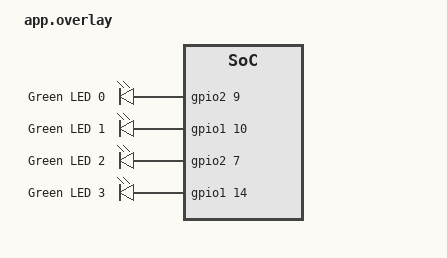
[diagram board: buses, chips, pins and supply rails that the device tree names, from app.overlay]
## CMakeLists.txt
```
cmake_minimum_required(VERSION 3.20.0)
find_package(Zephyr REQUIRED HINTS $ENV{ZEPHYR_BASE})
project(host_device)

target_sources(app PRIVATE
    src/main.c
    src/ble_service.c
)

target_include_directories(app PRIVATE include)
```

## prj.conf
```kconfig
# ========================================
# HOST DEVICE - BLE PERIPHERAL CONFIGURATION
# ========================================
# Simplified configuration for basic MotoApp connection
# ========================================

# ========================================
# C LIBRARY - NEWLIB (MANDATORY)
# ========================================
CONFIG_NEWLIB_LIBC=y
CONFIG_NEWLIB_LIBC_FLOAT_PRINTF=y

# ========================================
# SYSTEM CONFIGURATION
# ========================================
CONFIG_SERIAL=y
CONFIG_UART_CONSOLE=y
CONFIG_UART_LINE_CTRL=y
CONFIG_LOG=y
CONFIG_LOG_DEFAULT_LEVEL=3
CONFIG_LOG_MODE_MINIMAL=y
CONFIG_KERNEL_COHERENCE=n

# ========================================
# GPIO CONFIGURATION
# ========================================
CONFIG_GPIO=y

# ========================================
# TIMING CONFIGURATION
# ========================================
CONFIG_SYS_CLOCK_TICKS_PER_SEC=32768

# ========================================
# BLE STACK CONFIGURATION (PERIPHERAL + CENTRAL FOR SCANNING)
# ========================================
CONFIG_BT=y
CONFIG_BT_PERIPHERAL=y
CONFIG_BT_CENTRAL=y
CONFIG_BT_MAX_CONN=2
CONFIG_BT_MAX_PAIRED=1
CONFIG_BT_SCAN=y
CONFIG_BT_SCAN_FILTER_ENABLE=y

# ========================================
# BLE ADVERTISING CONFIGURATION
# ========================================
# Using standard intervals (100ms) instead of ultra-fast (3.75ms)
# Ultra-fast intervals can cause connection establishment issues
CONFIG_BT_PERIPHERAL_PREF_MIN_INT=160
CONFIG_BT_PERIPHERAL_PREF_MAX_INT=160
CONFIG_BT_PERIPHERAL_PREF_LATENCY=0
CONFIG_BT_PERIPHERAL_PREF_TIMEOUT=400

# ========================================
# BLE CONNECTION CONFIGURATION
# ========================================
CONFIG_BT_L2CAP_TX_MTU=247
CONFIG_BT_BUF_ACL_RX_SIZE=251
CONFIG_BT_BUF_ACL_TX_SIZE=251
CONFIG_BT_CTLR_DATA_LENGTH_MAX=251

# ========================================
# DEVICE NAME
# ========================================
CONFIG_BT_DEVICE_NAME="MIPE_HOST_A1B2"
CONFIG_BT_DEVICE_APPEARANCE=0
```

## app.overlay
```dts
/ {
	aliases {
		led0 = &led0;
		led1 = &led1;
		led2 = &led2;
		led3 = &led3;
	};

	leds {
		compatible = "gpio-leds";
		led0: led_0 {
			gpios = <&gpio2 9 GPIO_ACTIVE_HIGH>;
			label = "Green LED 0";
		};
		led1: led_1 {
			gpios = <&gpio1 10 GPIO_ACTIVE_HIGH>;
			label = "Green LED 1";
		};
		led2: led_2 {
			gpios = <&gpio2 7 GPIO_ACTIVE_HIGH>;
			label = "Green LED 2";
		};
		led3: led_3 {
			gpios = <&gpio1 14 GPIO_ACTIVE_HIGH>;
			label = "Green LED 3";
		};
	};
};
```

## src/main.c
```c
/*
 * Copyright (c) 2024 Nordic Semiconductor ASA
 * SPDX-License-Identifier: Apache-2.0
 */

/**
 * Host Device Application - Minimal Version
 * - RSSI measurement from Mipe beacons
 * - BLE communication with MotoApp
 * - Clean, focused implementation without LED indicators
 */

#include <zephyr/kernel.h>
#include <zephyr/bluetooth/bluetooth.h>
#include <zephyr/logging/log.h>
#include <string.h>

#include "ble/ble_peripheral.h"
#include "ble/ble_central.h"

LOG_MODULE_REGISTER(host_main, LOG_LEVEL_WRN);

/* BLE logging buffer */
static char ble_log_buffer[128];

/* Connection states */
static bool motoapp_connected = false;
static bool mipe_connected = false;
static bool streaming_active = false;

/* Latest RSSI from Mipe */
static int8_t latest_mipe_rssi = -70;
static uint32_t latest_mipe_timestamp = 0;
static uint16_t latest_mipe_battery_mv = 0;

/* Mipe status data */
static mipe_status_t mipe_status = {0};
static uint16_t mipe_connection_attempts = 0;

/* Host battery monitoring - placeholder constant value */
uint16_t get_host_battery_mv(void)
{
    /* TODO: Implement actual ADC reading for host battery */
    /* For now, return a constant test value as requested */
    static uint32_t last_log = 0;
    uint32_t now = k_uptime_get_32();
    
    /* Log periodically for debugging */
    if (now - last_log > 10000) {  /* Every 10 seconds */
        LOG_INF("Host battery reading: 7654 mV (constant test value)");
        last_log = now;
    }
    
    return 7654;  /* 7.654V constant as requested */
}

/* Helper function to send logs via BLE */
static void log_ble(const char *format, ...)
{
    va_list args;
    int err;
    
    va_start(args, format);
    vsnprintf(ble_log_buffer, sizeof(ble_log_buffer), format, args);
    va_end(args);

    LOG_INF("%s", ble_log_buffer);
    
    /* Only try to send via BLE if we're connected and ready */
    if (motoapp_connected) {
        err = ble_peripheral_send_log_data(ble_log_buffer);
        if (err == -EAGAIN) {
            /* Buffer full, just log locally */
            LOG_DBG("BLE log buffer full, skipping");
        }
    }
}

static void update_mipe_status(void)
{
    /* Only update dynamic fields, preserve battery voltage and other static data */
    mipe_status_t temp_status = mipe_status;
    
    /* Update only the dynamic fields */
    temp_status.status_flags = (ble_central_is_scanning() ? 1 : 0) | (mipe_connected ? 2 : 0);
    temp_status.rssi = mipe_connected ? latest_mipe_rssi : 0;
    temp_status.last_scan_timestamp = k_uptime_get_32();
    temp_status.connection_attempts = mipe_connection_attempts;

    LOG_DBG("Updating mipe status - battery: %.2fV", (double)temp_status.battery_voltage);
    ble_peripheral_update_mipe_status(&temp_status);
}

/* Mipe sync operation */
static void handle_mipe_sync(void)
{
    log_ble("=== MIPE SYNC STARTED ===");
    
    /* TODO: Implement actual Mipe connection logic here */
    /* For now, simulate a successful sync with mock data */
    k_sleep(K_MSEC(2000));  /* 2000ms timeout */
    
    /* Use constant battery value for testing Host-to-App communication */
    mipe_status.battery_voltage = 3.30f;  /* Constant test value */
    mipe_status.connection_duration = 2;  /* 2 second connection */
    strncpy(mipe_status.connection_state, "Connected", sizeof(mipe_status.connection_state) - 1);
    mipe_status.connection_state[sizeof(mipe_status.connection_state) - 1] = '\0';
    strncpy(mipe_status.device_address, "AA:BB:CC:DD:EE:FF", sizeof(mipe_status.device_address) - 1);
    mipe_status.device_address[sizeof(mipe_status.device_address) - 1] = '\0';
    
    log_ble("MIPE SYNC COMPLETE");
    log_ble("Battery: 3.30v (constant test), Duration: 2s");
    
    /* Update status to reflect sync completion */
    mipe_status_t sync_status = mipe_status;
    ble_peripheral_update_mipe_status(&sync_status);
}

/* BLE Peripheral callbacks */
static void app_connected(void)
{
    motoapp_connected = true;
    
    /* Wait for connection to stabilize before sending logs */
    k_sleep(K_MSEC(500));
    log_ble("MotoApp connected");
}

static void app_disconnected(void)
{
    log_ble("MotoApp disconnected");
    motoapp_connected = false;
    streaming_active = false;
}

static void streaming_state_changed(bool active)
{
    log_ble("Streaming %s", active ? "started" : "stopped");
    streaming_active = active;
}

/* BLE Central callback */
static void mipe_rssi_received(int8_t rssi, uint32_t timestamp)
{
    /* Update latest values */
    latest_mipe_rssi = rssi;
    latest_mipe_timestamp = timestamp;
    
    /* Track connection state changes */
    if (!mipe_connected) {
        mipe_connected = true;
        /* Store the battery value on first detection */
        latest_mipe_battery_mv = ble_central_get_mipe_battery_mv();
        LOG_INF("=== Mipe Connection State Change ===");
        LOG_INF("Connection to Mipe: CONNECTED");
        LOG_INF("Initial RSSI: %d dBm", rssi);
        LOG_INF("Mipe battery: %u mV", latest_mipe_battery_mv);
        /* Don't send log_ble here - it causes buffer conflicts */
        /* Don't update status immediately - it causes buffer conflicts during scan */
        /* Status will be updated on next RSSI packet or via MIPE_SYNC command */
        
        /* Skip sending the first RSSI packet to avoid buffer conflicts */
        return;
    }
    
    /* Send RSSI to app in real-time if streaming is active */
    if (streaming_active && motoapp_connected) {
        /* Get battery values for logging */
        uint16_t host_batt = get_host_battery_mv();
        /* Use the stored battery value instead of calling the function each time */
        uint16_t mipe_batt = latest_mipe_battery_mv;
        
        int err = ble_peripheral_send_rssi_data(rssi, 0);
        if (err == 0) {
            /* Successfully sent - log periodically to avoid spam */
            static uint32_t last_success_log = 0;
            static uint32_t send_count = 0;
            send_count++;
            if (timestamp - last_success_log > 5000) {
                LOG_INF("Real-time bundle sent #%u: RSSI=%d dBm, Host=%u mV, Mipe=%u mV", 
                        send_count, rssi, host_batt, mipe_batt);
                last_success_log = timestamp;
            }
        } else if (err != -EAGAIN) {
            /* Log errors except buffer full */
            static uint32_t last_error_log = 0;
            if (timestamp - last_error_log > 1000) {
                LOG_WRN("Failed to send RSSI bundle: %d", err);
                last_error_log = timestamp;
            }
        }
    }
    
    /* Log RSSI periodically (every 5 seconds) */
    static uint32_t last_rssi_log = 0;
    if (timestamp - last_rssi_log > 5000) {
        LOG_INF("Mipe RSSI: %d dBm (stable)", rssi);
        last_rssi_log = timestamp;
    }
}

/* Data transmission callback - NOT USED in real-time mode */
static int get_rssi_data(int8_t *rssi, uint32_t *timestamp)
{
    /* This callback is no longer used in real-time mode */
    /* RSSI is sent directly from mipe_rssi_received() */
    return -ENODATA;
}

int main(void)
{
    int err;

    LOG_INF("=== Host Device Starting (Minimal) ===");
    LOG_INF("Initial mipe_connected state: %s", mipe_connected ? "true" : "false");
    LOG_INF("Host battery monitoring: Using constant 7654 mV for testing");

    /* Initialize Bluetooth */
    err = bt_enable(NULL);
    if (err) {
        LOG_ERR("Bluetooth init failed (err %d)", err);
        return err;
    }
    LOG_INF("Bluetooth initialized");

    /* Initialize BLE Peripheral (for MotoApp connection) */
    err = ble_peripheral_init(app_connected, app_disconnected, 
                             streaming_state_changed, get_rssi_data,
                             handle_mipe_sync);
    if (err) {
        LOG_ERR("Failed to initialize BLE peripheral: %d", err);
        return err;
    }

    /* Initialize BLE Central (for Mipe beacon scanning) */
    err = ble_central_init(mipe_rssi_received);
    if (err) {
        LOG_ERR("Failed to initialize BLE central: %d", err);
        return err;
    }

    /* Start advertising */
    err = ble_peripheral_start_advertising();
    if (err) {
        LOG_ERR("Failed to start advertising: %d", err);
        return err;
    }

    /* Don't start scanning automatically - wait for app to request streaming */
    LOG_INF("=== Host Device Ready ===");
    LOG_INF("Advertising as: MIPE_HOST_A1B2");
    LOG_INF("Waiting for app to start streaming before scanning for Mipe");

    /* Main loop */
    while (1) {
        k_sleep(K_SECONDS(5));
        
        /* Check Mipe connection state */
        bool mipe_currently_detected = ble_central_is_mipe_detected();
        
        /* Handle disconnection */
        if (mipe_connected && !mipe_currently_detected) {
            mipe_connected = false;
            LOG_WRN("=== Mipe Connection State Change ===");
            LOG_INF("Connection to Mipe: DISCONNECTED");
            LOG_INF("Last known RSSI: %d dBm", latest_mipe_rssi);
            log_ble("Mipe beacon lost - timeout");
            latest_mipe_rssi = -70;  /* Reset to default */
        }
        
        /* Log periodic status if Mipe is connected */
        if (mipe_connected) {
            uint32_t packet_count = ble_central_get_mipe_packet_count();
            uint32_t uptime_sec = k_uptime_get_32() / 1000;
            LOG_INF("Mipe Status: Connected for %u sec, %u packets received, RSSI: %d dBm", 
                    uptime_sec, packet_count, latest_mipe_rssi);
        }
        
        /* NOTE: Mipe status is ONLY sent when explicitly requested via MIPE_SYNC command */
        /* No automatic status updates here */
    }

    return 0;
}
```

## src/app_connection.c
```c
#include "app_connection.h"
#include "ble_service.h"
#include <zephyr/logging/log.h>
#include <zephyr/kernel.h>
#include <zephyr/bluetooth/bluetooth.h>
#include <zephyr/bluetooth/conn.h>
#include <zephyr/bluetooth/gatt.h>
#include <string.h>

LOG_MODULE_REGISTER(app_connection, LOG_LEVEL_INF);

// ========================================
// GLOBAL VARIABLES
// ========================================

static struct bt_conn *app_conn = NULL;
static bool advertising_active = false;
static bool app_connected = false;

// ========================================
// ADVERTISING DATA
// ========================================

static const struct bt_data ad[] = {
    BT_DATA_BYTES(BT_DATA_FLAGS, (BT_LE_AD_GENERAL | BT_LE_AD_NO_BREDR)),
    BT_DATA(BT_DATA_NAME_COMPLETE, APP_DEVICE_NAME, strlen(APP_DEVICE_NAME)),
};

static const struct bt_data sd[] = {
    BT_DATA_BYTES(BT_DATA_UUID128_ALL, BT_UUID_TMT1_SERVICE_VAL),
};

// ========================================
// ADVERTISING PARAMETERS
// ========================================

static struct bt_le_adv_param adv_param = BT_LE_ADV_PARAM_INIT(
    BT_LE_ADV_OPT_CONN,                    // Connectable advertising
    BT_GAP_ADV_FAST_INT_MIN_2,             // 100ms min interval
    BT_GAP_ADV_FAST_INT_MAX_2,             // 150ms max interval
    NULL                                    // No peer address
);

// ========================================
// CONNECTION CALLBACKS
// ========================================

static void app_connected_cb(struct bt_conn *conn, uint8_t err)
{
    char addr[BT_ADDR_LE_STR_LEN];
    bt_addr_le_to_str(bt_conn_get_dst(conn), addr, sizeof(addr));
    
    if (err) {
        LOG_ERR("App connection failed (err %u)", err);
        app_connected = false;
        return;
    }
    
    LOG_INF("App connected: %s", addr);
    app_conn = bt_conn_ref(conn);
    app_connected = true;
    advertising_active = false;
    
    // Set connection in BLE service
    ble_service_set_app_conn(conn);
    
    // Send log data to App
    ble_service_send_log_data("Host device ready - App connected");
    
    // Request connection parameter update for stability
    struct bt_le_conn_param param = {
        .interval_min = BT_GAP_INIT_CONN_INT_MIN,  /* 30ms */
        .interval_max = BT_GAP_INIT_CONN_INT_MAX,  /* 50ms */
        .latency = 0,
        .timeout = 400,  /* 4 seconds */
    };
    
    err = bt_conn_le_param_update(conn, &param);
    if (err) {
        LOG_WRN("Failed to request connection parameter update: %d", err);
    } else {
        LOG_INF("Connection parameter update requested");
    }
}

static void app_disconnected_cb(struct bt_conn *conn, uint8_t reason)
{
    char addr[BT_ADDR_LE_STR_LEN];
    bt_addr_le_to_str(bt_conn_get_dst(conn), addr, sizeof(addr));
    
    LOG_INF("App disconnected: %s (reason %u)", addr, reason);
    
    if (app_conn == conn) {
        bt_conn_unref(app_conn);
        app_conn = NULL;
        app_connected = false;
        
        // Clear connection in BLE service
        ble_service_set_app_conn(NULL);
        
        // Automatically restart advertising
        LOG_INF("Restarting advertising for App discovery");
        int err = app_connection_start_advertising();
        if (err) {
            LOG_ERR("Failed to restart advertising: %d", err);
        }
    }
}

static struct bt_conn_cb app_conn_callbacks = {
    .connected = app_connected_cb,
    .disconnected = app_disconnected_cb,
};

// ========================================
// PUBLIC FUNCTIONS
// ========================================

int app_connection_init(void)
{
    LOG_INF("Initializing App connection");
    
    // Register connection callbacks
    bt_conn_cb_register(&app_conn_callbacks);
    
    LOG_INF("App connection initialized successfully");
    return 0;
}

int app_connection_start_advertising(void)
{
    if (advertising_active) {
        LOG_WRN("Advertising already active");
        return 0;
    }
    
    if (app_connected) {
        LOG_WRN("App already connected, no need to advertise");
        return 0;
    }
    
    LOG_INF("Starting advertising to App");
    
    // Start advertising
    int err = bt_le_adv_start(&adv_param, ad, ARRAY_SIZE(ad), sd, ARRAY_SIZE(sd));
    if (err) {
        LOG_ERR("Failed to start advertising: %d", err);
        return err;
    }
    
    advertising_active = true;
    LOG_INF("Advertising started - Device name: %s", APP_DEVICE_NAME);
    return 0;
}

int app_connection_stop_advertising(void)
{
    if (!advertising_active) {
        LOG_WRN("Advertising not active");
        return 0;
    }
    
    LOG_INF("Stopping advertising to App");
    
    int err = bt_le_adv_stop();
    if (err) {
        LOG_ERR("Failed to stop advertising: %d", err);
        return err;
    }
    
    advertising_active = false;
    LOG_INF("Advertising stopped");
    return 0;
}

bool app_connection_is_connected(void)
{
    return app_connected;
}

struct bt_conn *app_connection_get_conn(void)
{
    return app_conn;
}

int app_connection_disconnect(void)
{
    if (!app_connected || !app_conn) {
        LOG_WRN("Not connected to App");
        return -ENOTCONN;
    }
    
    LOG_INF("Disconnecting from App");
    
    int err = bt_conn_disconnect(app_conn, BT_HCI_ERR_REMOTE_USER_TERM_CONN);
    if (err) {
        LOG_ERR("Failed to disconnect: %d", err);
        return err;
    }
    
    return 0;
}

bool app_connection_is_advertising(void)
{
    return advertising_active;
}
```

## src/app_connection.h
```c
#ifndef APP_CONNECTION_H
#define APP_CONNECTION_H

#include <zephyr/bluetooth/bluetooth.h>
#include <zephyr/bluetooth/conn.h>
#include <zephyr/bluetooth/gatt.h>
#include <errno.h>
#include <stdbool.h>

// ========================================
// APP CONNECTION CONFIGURATION
// ========================================

// Device name matching App expectations
#define APP_DEVICE_NAME      "MIPE_HOST_A1B2"

// ========================================
// FUNCTION PROTOTYPES
// ========================================

/**
 * Initialize App connection (BLE peripheral)
 * @return 0 on success, negative error code on failure
 */
int app_connection_init(void);

/**
 * Start advertising to App
 * @return 0 on success, negative error code on failure
 */
int app_connection_start_advertising(void);

/**
 * Stop advertising to App
 * @return 0 on success, negative error code on failure
 */
int app_connection_stop_advertising(void);

/**
 * Check if App is connected
 * @return true if connected, false otherwise
 */
bool app_connection_is_connected(void);

/**
 * Get App connection object
 * @return Pointer to connection object, or NULL if not connected
 */
struct bt_conn *app_connection_get_conn(void);

/**
 * Disconnect from App
 * @return 0 on success, negative error code on failure
 */
int app_connection_disconnect(void);

/**
 * Check if advertising is active
 * @return true if advertising, false otherwise
 */
bool app_connection_is_advertising(void);

#endif // APP_CONNECTION_H
```

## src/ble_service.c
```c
#include "ble_service.h"
#include <zephyr/logging/log.h>
#include <zephyr/kernel.h>
#include <string.h>

LOG_MODULE_REGISTER(ble_service, LOG_LEVEL_INF);

// ========================================
// EXTERNAL FUNCTION DECLARATIONS
// ========================================

// These functions are defined in main.c
extern void handle_start_stream(void);
extern void handle_stop_stream(void);
extern void handle_get_status(void);
extern void handle_mipe_sync(void);

// ========================================
// GLOBAL VARIABLES
// ========================================

static struct bt_conn *app_conn = NULL;
static bool app_connected = false;

// ========================================
// CONTROL COMMAND HANDLER
// ========================================

static ssize_t control_write(struct bt_conn *conn,
                            const struct bt_gatt_attr *attr,
                            const void *buf,
                            uint16_t len,
                            uint16_t offset,
                            uint8_t flags)
{
    char addr[BT_ADDR_LE_STR_LEN];
    bt_addr_le_to_str(bt_conn_get_dst(conn), addr, sizeof(addr));
    
    LOG_INF("=== CONTROL WRITE RECEIVED ===");
    LOG_INF("From: %s", addr);
    LOG_INF("Length: %d bytes", len);
    LOG_INF("Offset: %d", offset);
    LOG_INF("Flags: 0x%02x", flags);
    
    if (len > 0) {
        uint8_t cmd = ((uint8_t *)buf)[0];
        LOG_INF("Command byte: 0x%02x", cmd);
        
        // Log full command data
        LOG_INF("Full command data:");
        for (int i = 0; i < len && i < 16; i++) {
            LOG_INF("  [%d]: 0x%02x", i, ((uint8_t *)buf)[i]);
        }
        
        // Handle control command
        ble_service_handle_control_command(buf, len);
        LOG_INF("Command handled successfully");
    } else {
        LOG_WRN("Empty command received");
    }
    
    LOG_INF("=============================");
    return len;
}

// ========================================
// CONTROL READ HANDLER
// ========================================

static ssize_t control_read(struct bt_conn *conn,
                           const struct bt_gatt_attr *attr,
                           void *buf,
                           uint16_t len,
                           uint16_t offset)
{
    LOG_INF("=== CONTROL READ REQUESTED ===");
    
    // Return a simple test value
    uint8_t test_data[] = {0xAA, 0xBB, 0xCC, 0xDD};
    
    if (len > sizeof(test_data)) {
        len = sizeof(test_data);
    }
    
    memcpy(buf, test_data, len);
    LOG_INF("Control read completed - returned %d bytes", len);
    LOG_INF("=============================");
    return len;
}

// ========================================
// STATUS READ HANDLER
// ========================================

static ssize_t status_read(struct bt_conn *conn,
                           const struct bt_gatt_attr *attr,
                           void *buf,
                           uint16_t len,
                           uint16_t offset)
{
    LOG_INF("Status read requested");
    
    // Return basic status for now
    uint8_t status[] = {0x01, 0x00, 0x00, 0x00}; // Status: Ready
    
    if (len > sizeof(status)) {
        len = sizeof(status);
    }
    
    memcpy(buf, status, len);
    return len;
}

// ========================================
// TMT1 SERVICE DEFINITION
// ========================================

// CCC write callback for RSSI data notifications
static void rssi_ccc_changed(const struct bt_gatt_attr *attr, uint16_t value)
{
    LOG_INF("=== RSSI CCC CHANGED ===");
    LOG_INF("Value: 0x%04x", value);
    LOG_INF("Notifications: %s", (value == BT_GATT_CCC_NOTIFY) ? "ENABLED" : "DISABLED");
    LOG_INF("========================");
}



BT_GATT_SERVICE_DEFINE(tmt1_service,
    BT_GATT_PRIMARY_SERVICE(&tmt1_service_uuid),
    
    BT_GATT_CHARACTERISTIC(&rssi_data_uuid.uuid,
                           BT_GATT_CHRC_NOTIFY,
                           BT_GATT_PERM_NONE,
                           NULL, NULL, NULL),
    BT_GATT_CCC(rssi_ccc_changed, BT_GATT_PERM_READ | BT_GATT_PERM_WRITE),
    
    BT_GATT_CHARACTERISTIC(&control_uuid.uuid,
                           BT_GATT_CHRC_READ | BT_GATT_CHRC_WRITE,
                           BT_GATT_PERM_READ | BT_GATT_PERM_WRITE,
                           control_read, control_write, NULL),
    
    BT_GATT_CHARACTERISTIC(&status_uuid.uuid,
                           BT_GATT_CHRC_READ,
                           BT_GATT_PERM_READ,
                           status_read, NULL, NULL),
    
    BT_GATT_CHARACTERISTIC(&mipe_status_uuid.uuid,
                           BT_GATT_CHRC_NOTIFY,
                           BT_GATT_PERM_NONE,
                           NULL, NULL, NULL),
    BT_GATT_CCC(NULL, BT_GATT_PERM_READ | BT_GATT_PERM_WRITE),
    
    BT_GATT_CHARACTERISTIC(&log_data_uuid.uuid,
                           BT_GATT_CHRC_NOTIFY,
                           BT_GATT_PERM_NONE,
                           NULL, NULL, NULL),
    BT_GATT_CCC(NULL, BT_GATT_PERM_READ | BT_GATT_PERM_WRITE)
);

// ========================================
// PUBLIC FUNCTIONS
// ========================================

int ble_service_init(void)
{
    LOG_INF("Initializing BLE service");
    
    // TMT1 service is automatically registered by BT_GATT_SERVICE_DEFINE
    LOG_INF("BLE service initialized successfully");
    return 0;
}

bool ble_service_is_app_connected(void)
{
    return app_connected;
}

int ble_service_send_rssi_data(int8_t rssi, uint32_t timestamp)
{
    if (!app_connected || !app_conn) {
        LOG_ERR("Cannot send RSSI data: not connected");
        return -ENOTCONN;
    }
    
    // Prepare RSSI data packet (1 byte RSSI + 3 bytes timestamp)
    uint8_t data[4];
    data[0] = (uint8_t)rssi;
    data[1] = (uint8_t)(timestamp & 0xFF);
    data[2] = (uint8_t)((timestamp >> 8) & 0xFF);
    data[3] = (uint8_t)((timestamp >> 16) & 0xFF);
    
    LOG_INF("=== SENDING RSSI DATA ===");
    LOG_INF("RSSI: %d dBm", rssi);
    LOG_INF("Timestamp: %u ms", timestamp);
    LOG_INF("Data bytes: [0x%02x, 0x%02x, 0x%02x, 0x%02x]", 
            data[0], data[1], data[2], data[3]);
    
    // Send notification using the service attribute
    int err = bt_gatt_notify(app_conn, &tmt1_service.attrs[1], data, sizeof(data));
    if (err) {
        LOG_ERR("Failed to send RSSI data: %d", err);
        LOG_ERR("Error details: %s", 
                err == -ENOTCONN ? "Not connected" :
                err == -EINVAL ? "Invalid parameters" :
                err == -ENOMEM ? "No memory" :
                err == -EIO ? "I/O error" : "Unknown error");
        return err;
    }
    
    LOG_INF("RSSI data sent successfully");
    LOG_INF("========================");
    return 0;
}

int ble_service_send_mipe_status(uint8_t connection_state, int8_t rssi,
                                const uint8_t *device_address, uint32_t connection_duration,
                                float battery_voltage)
{
    if (!app_connected || !app_conn) {
        return -ENOTCONN;
    }
    
    // Prepare Mipe status packet (16 bytes total)
    uint8_t data[16];
    data[0] = connection_state;
    data[1] = (uint8_t)rssi;
    
    // Copy device address (6 bytes)
    if (device_address) {
        memcpy(&data[2], device_address, 6);
    } else {
        memset(&data[2], 0, 6);
    }
    
    // Connection duration (4 bytes, little-endian)
    data[8] = (uint8_t)(connection_duration & 0xFF);
    data[9] = (uint8_t)((connection_duration >> 8) & 0xFF);
    data[10] = (uint8_t)((connection_duration >> 16) & 0xFF);
    data[11] = (uint8_t)((connection_duration >> 24) & 0xFF);
    
    // Battery voltage (4 bytes, float, little-endian)
    memcpy(&data[12], &battery_voltage, 4);
    
    // Send notification using the service attribute
    int err = bt_gatt_notify(app_conn, &tmt1_service.attrs[7], data, sizeof(data));
    if (err) {
        LOG_ERR("Failed to send Mipe status: %d", err);
        return err;
    }
    
    LOG_DBG("Mipe status sent: state=%d, rssi=%d, duration=%u, battery=%.2f",
             connection_state, rssi, connection_duration, (double)battery_voltage);
    return 0;
}

int ble_service_send_log_data(const char *log_string)
{
    if (!app_connected || !app_conn) {
        return -ENOTCONN;
    }
    
    if (!log_string) {
        return -EINVAL;
    }
    
    // Send notification using the service attribute
    int err = bt_gatt_notify(app_conn, &tmt1_service.attrs[9], log_string, strlen(log_string));
    if (err) {
        LOG_ERR("Failed to send log data: %d", err);
        return err;
    }
    
    LOG_DBG("Log data sent: %s", log_string);
    return 0;
}

int ble_service_handle_control_command(const uint8_t *data, uint16_t len)
{
    if (!data || len == 0) {
        return -EINVAL;
    }
    
    uint8_t cmd = data[0];
    
    switch (cmd) {
        case CMD_START_STREAM:
            LOG_INF("Executing START STREAM command");
            handle_start_stream();
            break;
            
        case CMD_STOP_STREAM:
            LOG_INF("Executing STOP STREAM command");
            handle_stop_stream();
            break;
            
        case CMD_GET_STATUS:
            LOG_INF("Executing GET STATUS command");
            handle_get_status();
            break;
            
        case CMD_MIPE_SYNC:
            LOG_INF("Executing MIPE SYNC command");
            handle_mipe_sync();
            break;
            
        default:
            LOG_WRN("Unknown command: 0x%02x", cmd);
            break;
    }
    
    return 0;
}

// ========================================
// CONNECTION MANAGEMENT
// ========================================

void ble_service_set_app_conn(struct bt_conn *conn)
{
    app_conn = conn;
    app_connected = (conn != NULL);
    
    if (app_connected) {
        LOG_INF("App connected");
    } else {
        LOG_INF("App disconnected");
    }
}
```

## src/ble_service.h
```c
#ifndef BLE_SERVICE_H
#define BLE_SERVICE_H

#include <zephyr/bluetooth/bluetooth.h>
#include <zephyr/bluetooth/conn.h>
#include <zephyr/bluetooth/gatt.h>
#include <zephyr/bluetooth/uuid.h>
#include <errno.h>
#include <stdint.h>
#include <stdbool.h>

// ========================================
// TMT1 SERVICE DEFINITIONS
// ========================================
// Matching the MotoApp expectations exactly

// TMT1 Service UUID
#define BT_UUID_TMT1_SERVICE_VAL \
    BT_UUID_128_ENCODE(0x12345678, 0x1234, 0x5678, 0x1234, 0x56789abcdef0)

// TMT1 Service Characteristics
#define BT_UUID_RSSI_DATA_VAL \
    BT_UUID_128_ENCODE(0x12345678, 0x1234, 0x5678, 0x1234, 0x56789abcdef1)

#define BT_UUID_CONTROL_VAL \
    BT_UUID_128_ENCODE(0x12345678, 0x1234, 0x5678, 0x1234, 0x56789abcdef2)

#define BT_UUID_STATUS_VAL \
    BT_UUID_128_ENCODE(0x12345678, 0x1234, 0x5678, 0x1234, 0x56789abcdef3)

#define BT_UUID_MIPE_STATUS_VAL \
    BT_UUID_128_ENCODE(0x12345678, 0x1234, 0x5678, 0x1234, 0x56789abcdef4)

#define BT_UUID_LOG_DATA_VAL \
    BT_UUID_128_ENCODE(0x12345678, 0x1234, 0x5678, 0x1234, 0x56789abcdef5)

// UUID structs for GATT service definition
static const struct bt_uuid_128 tmt1_service_uuid = BT_UUID_INIT_128(BT_UUID_TMT1_SERVICE_VAL);
static const struct bt_uuid_128 rssi_data_uuid = BT_UUID_INIT_128(BT_UUID_RSSI_DATA_VAL);
static const struct bt_uuid_128 control_uuid = BT_UUID_INIT_128(BT_UUID_CONTROL_VAL);
static const struct bt_uuid_128 status_uuid = BT_UUID_INIT_128(BT_UUID_STATUS_VAL);
static const struct bt_uuid_128 mipe_status_uuid = BT_UUID_INIT_128(BT_UUID_MIPE_STATUS_VAL);
static const struct bt_uuid_128 log_data_uuid = BT_UUID_INIT_128(BT_UUID_LOG_DATA_VAL);

// Control Commands (matching App expectations)
#define CMD_START_STREAM    0x01
#define CMD_STOP_STREAM     0x02
#define CMD_GET_STATUS      0x03
#define CMD_MIPE_SYNC       0x04

// ========================================
// FUNCTION PROTOTYPES
// ========================================

/**
 * Initialize BLE service
 * @return 0 on success, negative error code on failure
 */
int ble_service_init(void);

/**
 * Check if App is connected
 * @return true if connected, false otherwise
 */
bool ble_service_is_app_connected(void);

/**
 * Send RSSI data to App
 * @param rssi RSSI value (-30 to -80 dBm)
 * @param timestamp Timestamp in milliseconds
 * @return 0 on success, negative error code on failure
 */
int ble_service_send_rssi_data(int8_t rssi, uint32_t timestamp);

/**
 * Send Mipe status to App
 * @param connection_state Connection state (0=Idle, 1=Scanning, 2=Connected, 3=Connected, 4=Disconnected)
 * @param rssi RSSI value during connection
 * @param device_address Mipe device address
 * @param connection_duration Connection duration in milliseconds
 * @param battery_voltage Battery voltage (fake 3.8V for now)
 * @return 0 on success, negative error code on failure
 */
int ble_service_send_mipe_status(uint8_t connection_state, int8_t rssi, 
                                const uint8_t *device_address, uint32_t connection_duration,
                                float battery_voltage);

/**
 * Send log data to App
 * @param log_string Log message string
 * @return 0 on success, negative error code on failure
 */
int ble_service_send_log_data(const char *log_string);

/**
 * Handle control command from App
 * @param data Control command data
 * @param len Length of data
 * @return 0 on success, negative error code on failure
 */
int ble_service_handle_control_command(const uint8_t *data, uint16_t len);

/**
 * Set App connection object
 * @param conn Connection object or NULL if disconnected
 */
void ble_service_set_app_conn(struct bt_conn *conn);

#endif // BLE_SERVICE_H
```

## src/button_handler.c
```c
/*
 * Copyright (c) 2024 Nordic Semiconductor ASA
 * SPDX-License-Identifier: Apache-2.0
 */

#include <zephyr/kernel.h>
#include <zephyr/device.h>
#include <zephyr/drivers/gpio.h>
#include <zephyr/logging/log.h>

#include "button_handler.h"

LOG_MODULE_REGISTER(button_handler, LOG_LEVEL_INF);

/* Button configuration */
#define SW0_NODE DT_ALIAS(sw0)
static const struct gpio_dt_spec button = GPIO_DT_SPEC_GET(SW0_NODE, gpios);
static struct gpio_callback button_cb_data;

/* Button callback */
static button_callback_t user_callback = NULL;

static void button_pressed(const struct device *dev, struct gpio_callback *cb,
                          uint32_t pins)
{
    LOG_INF("Button pressed");
    
    if (user_callback) {
        user_callback();
    }
}

int button_handler_init(button_callback_t callback)
{
    int ret;

    if (!gpio_is_ready_dt(&button)) {
        LOG_ERR("Button device not ready");
        return -ENODEV;
    }

    ret = gpio_pin_configure_dt(&button, GPIO_INPUT);
    if (ret != 0) {
        LOG_ERR("Failed to configure button GPIO: %d", ret);
        return ret;
    }

    ret = gpio_pin_interrupt_configure_dt(&button,
                                         GPIO_INT_EDGE_TO_ACTIVE);
    if (ret != 0) {
        LOG_ERR("Failed to configure button interrupt: %d", ret);
        return ret;
    }

    gpio_init_callback(&button_cb_data, button_pressed, BIT(button.pin));
    gpio_add_callback(button.port, &button_cb_data);

    user_callback = callback;

    LOG_INF("Button handler initialized");
    return 0;
}
```

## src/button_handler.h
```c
/*
 * Copyright (c) 2024 Nordic Semiconductor ASA
 * SPDX-License-Identifier: Apache-2.0
 */

#ifndef BUTTON_HANDLER_H
#define BUTTON_HANDLER_H

#include <stdint.h>

/* Button callback function type */
typedef void (*button_callback_t)(void);

/**
 * @brief Initialize button handler
 * 
 * @param callback Function to call when button is pressed
 * @return 0 on success, negative error code on failure
 */
int button_handler_init(button_callback_t callback);

#endif /* BUTTON_HANDLER_H */
```

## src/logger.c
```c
/*
 * Copyright (c) 2024 Nordic Semiconductor ASA
 * SPDX-License-Identifier: Apache-2.0
 */

#include <zephyr/kernel.h>
#include <zephyr/logging/log.h>

#include "logger.h"

LOG_MODULE_REGISTER(logger_system, LOG_LEVEL_INF);

static enum logger_level current_level = LOGGER_LEVEL_INFO;

void logger_init(enum logger_level level)
{
    current_level = level;
    LOG_INF("Logger initialized with level %d", level);
}

void logger_set_level(enum logger_level level)
{
    current_level = level;
    LOG_INF("Logger level changed to %d", level);
}

enum logger_level logger_get_level(void)
{
    return current_level;
}

void logger_log(enum logger_level level, const char *format, ...)
{
    if (level < current_level) {
        return;
    }

    /* For now, just use Zephyr's logging system */
    switch (level) {
    case LOGGER_LEVEL_DEBUG:
        LOG_DBG("%s", format);
        break;
    case LOGGER_LEVEL_INFO:
        LOG_INF("%s", format);
        break;
    case LOGGER_LEVEL_WARNING:
        LOG_WRN("%s", format);
        break;
    case LOGGER_LEVEL_ERROR:
        LOG_ERR("%s", format);
        break;
    default:
        LOG_INF("%s", format);
        break;
    }
}
```

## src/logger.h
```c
/*
 * Copyright (c) 2024 Nordic Semiconductor ASA
 * SPDX-License-Identifier: Apache-2.0
 */

#ifndef LOGGER_H
#define LOGGER_H

#include <stdint.h>

/* Logger levels */
enum logger_level {
    LOGGER_LEVEL_DEBUG = 0,
    LOGGER_LEVEL_INFO,
    LOGGER_LEVEL_WARNING,
    LOGGER_LEVEL_ERROR,
};

/**
 * @brief Initialize logger
 * 
 * @param level Initial logging level
 */
void logger_init(enum logger_level level);

/**
 * @brief Set logger level
 * 
 * @param level New logging level
 */
void logger_set_level(enum logger_level level);

/**
 * @brief Get current logger level
 * 
 * @return Current logging level
 */
enum logger_level logger_get_level(void);

/**
 * @brief Log a message
 * 
 * @param level Message level
 * @param format Printf-style format string
 * @param ... Variable arguments
 */
void logger_log(enum logger_level level, const char *format, ...);

#endif /* LOGGER_H */
```

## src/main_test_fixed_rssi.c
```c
/*
 * Copyright (c) 2024 Nordic Semiconductor ASA
 *
 * SPDX-License-Identifier: Apache-2.0
 */

/**
 * TEST VERSION: Fixed RSSI transmission for debugging
 * This version sends fixed RSSI = -55 dBm to test data flow
 */

#include <zephyr/kernel.h>
#include <zephyr/logging/log.h>
#include <zephyr/device.h>
#include <zephyr/drivers/gpio.h>
#include <zephyr/bluetooth/bluetooth.h>
#include <zephyr/bluetooth/conn.h>
#include <zephyr/bluetooth/gatt.h>
#include <zephyr/random/random.h>
#include <math.h>

#include "ble/ble_peripheral.h"
#include "ble/ble_central.h"
#include "button_handler.h"
#include "logger.h"

LOG_MODULE_REGISTER(main, LOG_LEVEL_INF);

/**
 * LED Status Indicators:
 * LED0: Heartbeat/System ready
 * LED1: MotoApp connection status
 * LED2: Mipe connection status (TMT3+)
 * LED3: Data streaming activity (SOLID ON during streaming)
 */
#define LED0_NODE DT_ALIAS(led0)
#define LED1_NODE DT_ALIAS(led1)
#define LED2_NODE DT_ALIAS(led2)
#define LED3_NODE DT_ALIAS(led3)

static const struct gpio_dt_spec led0 = GPIO_DT_SPEC_GET(LED0_NODE, gpios);
static const struct gpio_dt_spec led1 = GPIO_DT_SPEC_GET(LED1_NODE, gpios);
static const struct gpio_dt_spec led2 = GPIO_DT_SPEC_GET(LED2_NODE, gpios);
static const struct gpio_dt_spec led3 = GPIO_DT_SPEC_GET(LED3_NODE, gpios);

/* System state */
static bool system_ready = false;
static bool motoapp_connected = false;
static bool mipe_connected = false;
static bool data_streaming = false;

/* LED heartbeat timer */
static struct k_timer heartbeat_timer;
static bool heartbeat_state = false;

/* Data streaming timer for fixed RSSI */
static struct k_timer data_timer;
static void data_timer_handler(struct k_timer *timer);

/* Simulated RSSI data */
uint32_t packet_count = 0;  /* Made non-static for ble_peripheral.c access */
static int64_t stream_start_time = 0;

/* Forward declarations */
static void system_init(void);
static void led_init(void);
static void motoapp_connection_callback(bool connected);
static void mipe_connection_callback(bool connected);
static void mipe_rssi_callback(int8_t rssi, uint32_t timestamp);
static void data_stream_callback(bool start);
static void heartbeat_timer_handler(struct k_timer *timer);

int main(void)
{
    int err;

    LOG_INF("SinglePing Host Device TEST VERSION - Fixed RSSI");

    /* Initialize system components */
    system_init();

    /* Initialize LEDs */
    led_init();

    /* Initialize logger */
    logger_init(LOGGER_LEVEL_INFO);

    /* Initialize button handler for data stream control */
    err = button_handler_init(NULL);
    if (err) {
        LOG_ERR("Button handler initialization failed: %d", err);
        return err;
    }

    /* Initialize BLE as Peripheral for MotoApp connection */
    err = ble_peripheral_init(motoapp_connection_callback, data_stream_callback);
    if (err) {
        LOG_ERR("BLE Peripheral initialization failed: %d", err);
        return err;
    }

    /* Initialize BLE as Central for Mipe device connections */
    err = ble_central_init(mipe_connection_callback, mipe_rssi_callback);
    if (err) {
        LOG_ERR("BLE Central initialization failed: %d", err);
        return err;
    }

    system_ready = true;
    
    /* Initialize and start heartbeat timer for LED0 (1000ms interval) */
    k_timer_init(&heartbeat_timer, heartbeat_timer_handler, NULL);
    k_timer_start(&heartbeat_timer, K_MSEC(1000), K_MSEC(1000));
    
    /* Initialize data streaming timer */
    k_timer_init(&data_timer, data_timer_handler, NULL);
    
    LOG_INF("TEST MODE: Will send fixed RSSI = -55 dBm when streaming starts");
    LOG_INF("LED0: Heartbeat, LED1: MotoApp, LED3: Streaming (solid)");

    /* Main loop */
    while (1) {
        /* Sleep for 100ms */
        k_msleep(100);
    }

    return 0;
}

static void system_init(void)
{
    LOG_INF("Initializing system...");
    LOG_INF("System initialization complete");
}

static void led_init(void)
{
    int ret;

    /* Configure LEDs */
    if (!gpio_is_ready_dt(&led0)) {
        LOG_ERR("LED0 device not ready");
        return;
    }
    ret = gpio_pin_configure_dt(&led0, GPIO_OUTPUT_INACTIVE);
    if (ret < 0) {
        LOG_ERR("Cannot configure LED0: %d", ret);
        return;
    }

    if (!gpio_is_ready_dt(&led1)) {
        LOG_ERR("LED1 device not ready");
        return;
    }
    ret = gpio_pin_configure_dt(&led1, GPIO_OUTPUT_INACTIVE);
    if (ret < 0) {
        LOG_ERR("Cannot configure LED1: %d", ret);
        return;
    }

    if (!gpio_is_ready_dt(&led2)) {
        LOG_ERR("LED2 device not ready");
        return;
    }
    ret = gpio_pin_configure_dt(&led2, GPIO_OUTPUT_INACTIVE);
    if (ret < 0) {
        LOG_ERR("Cannot configure LED2: %d", ret);
        return;
    }

    if (!gpio_is_ready_dt(&led3)) {
        LOG_ERR("LED3 device not ready");
        return;
    }
    ret = gpio_pin_configure_dt(&led3, GPIO_OUTPUT_INACTIVE);
    if (ret < 0) {
        LOG_ERR("Cannot configure LED3: %d", ret);
        return;
    }

    LOG_INF("LEDs initialized");
}

static void motoapp_connection_callback(bool connected)
{
    motoapp_connected = connected;
    
    if (connected) {
        LOG_INF("MotoApp connected via BLE");
        gpio_pin_set_dt(&led1, 1); /* Connection indicator */
        packet_count = 0;
    } else {
        LOG_INF("MotoApp disconnected");
        gpio_pin_set_dt(&led1, 0); /* Clear connection indicator */
        data_streaming = false;
        gpio_pin_set_dt(&led3, 0); /* Clear streaming LED */
        k_timer_stop(&data_timer); /* Stop data timer */
    }
}

static void data_stream_callback(bool start)
{
    data_streaming = start;
    
    if (start) {
        stream_start_time = k_uptime_get();
        packet_count = 0;
        LOG_INF("Data streaming started - sending fixed RSSI = -55 dBm");
        gpio_pin_set_dt(&led3, 1); /* Turn ON streaming LED (solid) */
        
        /* Start sending data every 1 second */
        k_timer_start(&data_timer, K_SECONDS(1), K_SECONDS(1));
    } else {
        LOG_INF("Data streaming stopped");
        gpio_pin_set_dt(&led3, 0); /* Turn OFF streaming LED */
        k_timer_stop(&data_timer);
    }
}

static void data_timer_handler(struct k_timer *timer)
{
    if (motoapp_connected && data_streaming && ble_peripheral_is_connected()) {
        /* Fixed RSSI value for testing */
        int8_t fixed_rssi = -55;
        uint32_t timestamp = k_uptime_get_32();
        
        int err = ble_peripheral_send_rssi_data(fixed_rssi, timestamp);
        
        if (err == 0) {
            packet_count++;
            LOG_INF("Sent fixed RSSI: %d dBm (packet %u)", fixed_rssi, packet_count);
        } else {
            LOG_WRN("Failed to send RSSI data: %d", err);
        }
    }
}

static void mipe_connection_callback(bool connected)
{
    mipe_connected = connected;
    
    if (connected) {
        LOG_INF("Mipe device connected via BLE Central");
        gpio_pin_set_dt(&led2, 1); /* Mipe connection indicator */
    } else {
        LOG_INF("Mipe device disconnected");
        gpio_pin_set_dt(&led2, 0); /* Clear Mipe connection indicator */
    }
}

static void mipe_rssi_callback(int8_t rssi, uint32_t timestamp)
{
    /* Not used in test mode - we send fixed data instead */
    LOG_DBG("Ignoring Mipe RSSI in test mode");
}

static void heartbeat_timer_handler(struct k_timer *timer)
{
    /* Toggle LED0 for heartbeat effect */
    heartbeat_state = !heartbeat_state;
    gpio_pin_set_dt(&led0, heartbeat_state ? 1 : 0);
}
```
